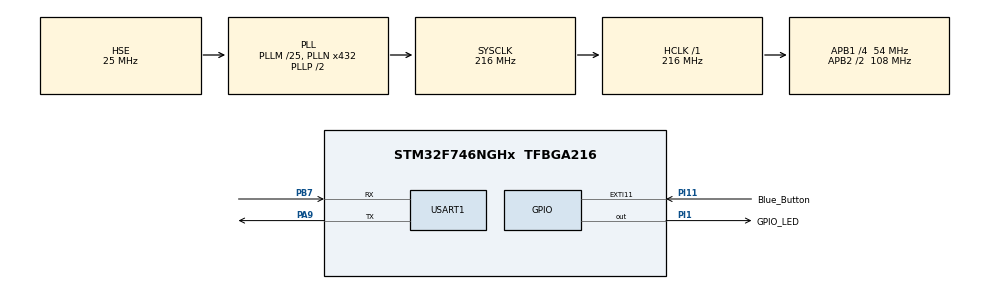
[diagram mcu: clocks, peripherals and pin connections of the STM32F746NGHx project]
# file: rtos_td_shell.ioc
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FREERTOS.Tasks01=defaultTask,0,128,StartDefaultTask,Default,NULL,Dynamic,NULL,NULL
FREERTOS.configCHECK_FOR_STACK_OVERFLOW=2
FREERTOS.configGENERATE_RUN_TIME_STATS=1
FREERTOS.configRECORD_STACK_HIGH_ADDRESS=1
FREERTOS.configUSE_STATS_FORMATTING_FUNCTIONS=1
FREERTOS.configUSE_TIMERS=0
FREERTOS.configUSE_TRACE_FACILITY=1
Mcu.Family=STM32F7
Mcu.Name=STM32F746NGHx
Mcu.Package=TFBGA216
NVIC.PriorityGroup=NVIC_PRIORITYGROUP_4
NVIC.TIM1_UP_TIM10_IRQn=true\:5\:0\:false\:false\:true\:true\:true\:true\:true
NVIC.TIM6_DAC_IRQn=true\:15\:0\:false\:false\:true\:false\:false\:true\:true
NVIC.TimeBase=TIM6_DAC_IRQn
NVIC.TimeBaseIP=TIM6
NVIC.USART1_IRQn=true\:5\:0\:false\:false\:true\:true\:true\:true\:true
PA13.Mode=Serial_Wire
PA13.Signal=SYS_JTMS-SWDIO
PA14.Mode=Serial_Wire
PA14.Signal=SYS_JTCK-SWCLK
PA9.Mode=Asynchronous
PA9.Signal=USART1_TX
PB7.Mode=Asynchronous
PB7.Signal=USART1_RX
PH0/OSC_IN.Mode=HSE-External-Oscillator
PH0/OSC_IN.Signal=RCC_OSC_IN
PH1/OSC_OUT.Mode=HSE-External-Oscillator
PH1/OSC_OUT.Signal=RCC_OSC_OUT
PI1.GPIO_Label=GPIO_LED
PI1.Signal=GPIO_Output
PI11.GPIO_Label=Blue_Button
PI11.Signal=GPXTI11
ProjectManager.HeapSize=0x200
ProjectManager.StackSize=0x400
ProjectManager.TargetToolchain=STM32CubeIDE
RCC.AHBFreq_Value=216000000
RCC.APB1CLKDivider=RCC_HCLK_DIV4
RCC.APB1Freq_Value=54000000
RCC.APB1TimFreq_Value=108000000
RCC.APB2CLKDivider=RCC_HCLK_DIV2
RCC.APB2Freq_Value=108000000
RCC.APB2TimFreq_Value=216000000
RCC.CortexFreq_Value=216000000
RCC.HCLKFreq_Value=216000000
RCC.HSE_VALUE=25000000
RCC.HSI_VALUE=16000000
RCC.LSE_VALUE=32768
RCC.PLLM=25
RCC.PLLN=432
RCC.PLLSourceVirtual=RCC_PLLSOURCE_HSE
RCC.SYSCLKFreq_VALUE=216000000
RCC.SYSCLKSource=RCC_SYSCLKSOURCE_PLLCLK
RCC.USBFreq_Value=216000000
RCC.VCOOutputFreq_Value=432000000
TIM10.Period=400
USART1.VirtualMode-Asynchronous=VM_ASYNC
VP_FREERTOS_VS_CMSIS_V1.Mode=CMSIS_V1
VP_SYS_VS_tim6.Mode=TIM6
VP_TIM10_VS_ClockSourceINT.Mode=Enable_Timer
board=STM32F746G-DISCO

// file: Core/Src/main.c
/* USER CODE BEGIN Header */
/**
 ******************************************************************************
 * @file           : main.c
 * @brief          : Main program body
 ******************************************************************************
 * @attention
 *
 * Copyright (c) 2022 STMicroelectronics.
 * All rights reserved.
 *
 * This software is licensed under terms that can be found in the LICENSE file
 * in the root directory of this software component.
 * If no LICENSE file comes with this software, it is provided AS-IS.
 *
 ******************************************************************************
 */
/* USER CODE END Header */
#include "main.h"
#include "cmsis_os.h"
#include "tim.h"
#include "usart.h"
#include "gpio.h"

/* USER CODE BEGIN Includes */
#include <stdio.h>
#include "shell.h"
/* USER CODE END Includes */

/* USER CODE BEGIN PD */
#define TASK_SHELL_STACK_LENGTH 256
#define TASK_SHELL_PRIORITY 2
#define TASK_LED_PRIORITY 1

#define TASK_BIDON1_PRIORITY 2
#define TASK_BIDON2_PRIORITY 1

#define STACK_SIZE 1000
#define LED_DELAY 500

#define DELAY_1 500
#define DELAY_2 1500

#define LONG_MAX 500
/* USER CODE END PD */

/* USER CODE BEGIN PV */
TaskHandle_t h_task_shell;
TaskHandle_t xHandleToggleLED;
TaskHandle_t xHandleBidon;

SemaphoreHandle_t sem1 = NULL;

TaskHandle_t xHandleTaskGiveNotif = NULL;
TaskHandle_t xHandleTaskTakeNotif = NULL;

TaskHandle_t xHandleTaskGiveQueue = NULL;
TaskHandle_t xHandleTaskTakeQueue = NULL;

QueueHandle_t maQueue = NULL;

int requestLED = 0;
int freqLED = 0;
int argLED;

/* USER CODE END PV */

void SystemClock_Config(void);
void MX_FREERTOS_Init(void);
/* USER CODE BEGIN PFP */
void codeLED_Toggle (void * pvParameters);

void bidon1(void * pvParameters);
void bidon2(void * pvParameters);

void codeTaskGiveNotif (void * pvParameters);
void codeTaskTakeNotif (void * pvParameters);

void codeTaskGiveQueue (void * pvParameters);
void codeTaskTakeQueue (void * pvParameters);
/* USER CODE END PFP */

/* USER CODE BEGIN 0 */
int __io_putchar(int ch)
{
	HAL_UART_Transmit(&huart1, (uint8_t*)&ch, 1, HAL_MAX_DELAY);

	return ch;
}

void HAL_UART_RxCpltCallback(UART_HandleTypeDef *huart)
{
	BaseType_t hptw = pdFALSE;
	// Give la notification, pour réveiller la tâche du shell
	// Seulement si c'est une interruption de l'USART1
	if (USART1 == huart->Instance)
	{
		vTaskNotifyGiveFromISR(h_task_shell, &hptw);
	}

	portYIELD_FROM_ISR(hptw)
}

int fonction(int argc, char ** argv)
{
	printf("argc =%d\r\n",argc);

	for (int i=0;i<argc;i++)
	{
		printf("L'argument numero %d = %s \r\n",i,argv[i]);
	}

	return 0;
}

int led(int argc, char ** argv)
{

	if (argc !=2)
	{
		printf("ERREUR : Pas le bon nombre d'arguments\r\n");
	}
	else{
		argLED = atoi(argv[1]);
		if (argLED == 0)
		{
			//requestLED = 0;
			vTaskSuspend(xHandleToggleLED);
			if(HAL_GPIO_ReadPin(GPIO_LED_GPIO_Port, GPIO_LED_Pin)== SET)
			{
				HAL_GPIO_WritePin(GPIO_LED_GPIO_Port, GPIO_LED_Pin, RESET);
			}
			printf("LED eteinte\r\n");

		}
		else
		{
			vTaskResume(xHandleToggleLED);
			freqLED = atoi(argv[1]);
			requestLED = 1;
			printf("LED allumee\r\n");
			printf("Frequence : %dHz\r\n", 1000/freqLED);

		}
	}

	return 0;
}

void task_shell(void * unused)
{
	shell_init();
	shell_add('f', fonction, "Une fonction inutile");
	shell_add('l', led, "J'adore clignoter");
	shell_run();

	// Il ne faut jamais retourner d'une tâche
	// Mais on n'arrive jamais là parce que shell_run est une boucle infinie
}

volatile unsigned count;

void configureTimerForRunTimeStats(void)
{
    count = 0;
    HAL_TIM_Base_Start_IT(&htim10);
}

unsigned long getRunTimeCounterValue(void)
{
	return count;
}

/* USER CODE END 0 */

int main(void)
{

  /* MCU Configuration--------------------------------------------------------*/

  /* Reset of all peripherals, Initializes the Flash interface and the Systick. */
  HAL_Init();

  /* Configure the system clock */
  SystemClock_Config();

  /* Initialize all configured peripherals */
  MX_GPIO_Init();
  MX_USART1_UART_Init();
  MX_TIM10_Init();
  /* USER CODE BEGIN 2 */

	BaseType_t TaskGiveNotif;
	BaseType_t TaskTakeNotif;

	BaseType_t TaskGiveQueue;
	BaseType_t TaskTakeQueue;

	sem1 = xSemaphoreCreateBinary();
	configASSERT(sem1 != NULL);

	if (xTaskCreate(task_shell, "Shell", TASK_SHELL_STACK_LENGTH, NULL, TASK_SHELL_PRIORITY, &h_task_shell) != pdPASS)
	{
		printf("Error task shell\r\n");
		Error_Handler();
	}

	/*if (xTaskCreate(codeLED_Toggle, "LED Toggle", STACK_SIZE, (void *) LED_DELAY, TASK_LED_PRIORITY, &xHandleToggleLED ) != pdPASS)
	{
		printf("Error task ledToggle\r\n");
		Error_Handler();
	}*/

	if (xTaskCreate(bidon1, "bidon1", STACK_SIZE, (void *) DELAY_1, TASK_BIDON1_PRIORITY, &xHandleBidon ) != pdPASS)
	{
		printf("Error task bidon\r\n");
		Error_Handler();
	}

	if (xTaskCreate(bidon2, "bidon2", STACK_SIZE, (void *) DELAY_1, TASK_BIDON2_PRIORITY, &xHandleBidon ) != pdPASS)
	{
		printf("Error task bidon\r\n");
		Error_Handler();
	}

	vQueueAddToRegistry(sem1, "Semaphore");

	//TaskGiveNotif = xTaskCreate(codeTaskGiveNotif, "Task Give", STACK_SIZE, (void *) DELAY_1, tskIDLE_PRIORITY+2, &xHandleTaskGiveNotif );
	//TaskTakeNotif = xTaskCreate(codeTaskTakeNotif, "Task Take", STACK_SIZE, (void *) DELAY_2, tskIDLE_PRIORITY+1, &xHandleTaskTakeNotif );
	//configASSERT(TaskTakeNotif == pdPASS);

	//TaskGiveQueue = xTaskCreate(codeTaskGiveQueue, "Task Give", STACK_SIZE, (void *) DELAY_1, tskIDLE_PRIORITY+2, &xHandleTaskGiveQueue );
	//TaskTakeQueue = xTaskCreate(codeTaskTakeQueue, "Task Take", STACK_SIZE, (void *) DELAY_2, tskIDLE_PRIORITY+1, &xHandleTaskTakeQueue);
	//configASSERT(TaskTakeQueue == pdPASS);

	vTaskStartScheduler();

  /* USER CODE END 2 */

  /* Call init function for freertos objects (in freertos.c) */
  MX_FREERTOS_Init();

  /* Start scheduler */
  osKernelStart();

  /* We should never get here as control is now taken by the scheduler */
  /* Infinite loop */
	while (1)
	{

	}
}

void SystemClock_Config(void)
{
  RCC_OscInitTypeDef RCC_OscInitStruct = {0};
  RCC_ClkInitTypeDef RCC_ClkInitStruct = {0};

  /** Configure the main internal regulator output voltage
  */
  __HAL_RCC_PWR_CLK_ENABLE();
  __HAL_PWR_VOLTAGESCALING_CONFIG(PWR_REGULATOR_VOLTAGE_SCALE1);

  /** Initializes the RCC Oscillators according to the specified parameters
  * in the RCC_OscInitTypeDef structure.
  */
  RCC_OscInitStruct.OscillatorType = RCC_OSCILLATORTYPE_HSE;
  RCC_OscInitStruct.HSEState = RCC_HSE_ON;
  RCC_OscInitStruct.PLL.PLLState = RCC_PLL_ON;
  RCC_OscInitStruct.PLL.PLLSource = RCC_PLLSOURCE_HSE;
  RCC_OscInitStruct.PLL.PLLM = 25;
  RCC_OscInitStruct.PLL.PLLN = 432;
  RCC_OscInitStruct.PLL.PLLP = RCC_PLLP_DIV2;
  RCC_OscInitStruct.PLL.PLLQ = 2;
  if (HAL_RCC_OscConfig(&RCC_OscInitStruct) != HAL_OK)
  {
    Error_Handler();
  }

  /** Activate the Over-Drive mode
  */
  if (HAL_PWREx_EnableOverDrive() != HAL_OK)
  {
    Error_Handler();
  }

  /** Initializes the CPU, AHB and APB buses clocks
  */
  RCC_ClkInitStruct.ClockType = RCC_CLOCKTYPE_HCLK|RCC_CLOCKTYPE_SYSCLK
                              |RCC_CLOCKTYPE_PCLK1|RCC_CLOCKTYPE_PCLK2;
  RCC_ClkInitStruct.SYSCLKSource = RCC_SYSCLKSOURCE_PLLCLK;
  RCC_ClkInitStruct.AHBCLKDivider = RCC_SYSCLK_DIV1;
  RCC_ClkInitStruct.APB1CLKDivider = RCC_HCLK_DIV4;
  RCC_ClkInitStruct.APB2CLKDivider = RCC_HCLK_DIV2;

  if (HAL_RCC_ClockConfig(&RCC_ClkInitStruct, FLASH_LATENCY_7) != HAL_OK)
  {
    Error_Handler();
  }
}

/* USER CODE BEGIN 4 */
void codeLED_Toggle(void* pvParameters)
{
	for(;;)
	{
		while (requestLED == 1)
		{
			HAL_GPIO_WritePin(GPIO_LED_GPIO_Port, GPIO_LED_Pin, SET);
			vTaskDelay(freqLED);
			HAL_GPIO_WritePin(GPIO_LED_GPIO_Port, GPIO_LED_Pin, RESET);
			vTaskDelay(freqLED);
		}
	}

}

void bidon1(void* pvParameters)
{
	while(1){
		xSemaphoreGive(sem1);
		vTaskDelay(1000);
		printf("le sem ne fonctionne pas\r\n");
	}
}

void bidon2(void* pvParameters)
{
	while(1){
		xSemaphoreTake(sem1, DELAY_1);
	}
}

void codeTaskGiveNotif(void* pvParameters)
{
	int delay = (int) pvParameters;
	for(;;)
	{
		printf("I give\r\n");
		xTaskNotifyGive(xHandleTaskTakeNotif);
		printf("Notification given\r\n");
		vTaskDelay(delay);
	}
}

void codeTaskTakeNotif(void* pvParameters)
{
	int errorDelay = (int) pvParameters;
	for(;;)
	{
		printf("I take\r\n");
		if(ulTaskNotifyTake(pdTRUE, errorDelay) == pdTRUE)
		{
			printf("Notification taken\r\n");
		}
		else
		{
			printf("Error\r\n");
			NVIC_SystemReset();
		}
	}
}

void codeTaskGiveQueue(void* pvParameters)
{
	int c=0;
	static char msg[] = "msg 00";
	int delay = (int) pvParameters;
	for(;;)
	{
		delay+=100;
		sprintf(msg, "msg %02d \r\n", c);
		xQueueSend(maQueue, (const void*) msg, portMAX_DELAY);
		c++;
		printf("Message given\r\n");
		vTaskDelay(delay);
	}
}

void codeTaskTakeQueue(void* pvParameters)
{
	char msgBuf[LONG_MAX];
	int errorDelay = (int) pvParameters;
	for(;;)
	{
		printf("I take\r\n");
		if(xQueueReceive(maQueue, (void*) msgBuf, errorDelay) == pdTRUE)
		{
			printf(msgBuf);
			printf("Message taken\r\n");

		}
		else
		{
			printf("ERROR : max delay reached\r\n");
			NVIC_SystemReset();
		}
	}
}

void HAL_GPIO_EXTI_Callback(uint16_t GPIO_Pin)
{

	if(GPIO_Pin == Blue_Button_Pin)
	{

		if(HAL_GPIO_ReadPin(GPIO_LED_GPIO_Port, GPIO_LED_Pin)==SET)
		{
			HAL_GPIO_WritePin(GPIO_LED_GPIO_Port, GPIO_LED_Pin, RESET);
		}
		else
		{
			HAL_GPIO_WritePin(GPIO_LED_GPIO_Port, GPIO_LED_Pin, SET);
		}
	}

}

/* USER CODE END 4 */

void HAL_TIM_PeriodElapsedCallback(TIM_HandleTypeDef *htim)
{
  if (htim->Instance == TIM6) {
    HAL_IncTick();
  }
}

void Error_Handler(void)
{
	__disable_irq();
	while (1)
	{
	}
}

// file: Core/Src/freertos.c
/* USER CODE BEGIN Header */
/**
  ******************************************************************************
  * File Name          : freertos.c
  * Description        : Code for freertos applications
  ******************************************************************************
  * @attention
  *
  * Copyright (c) 2022 STMicroelectronics.
  * All rights reserved.
  *
  * This software is licensed under terms that can be found in the LICENSE file
  * in the root directory of this software component.
  * If no LICENSE file comes with this software, it is provided AS-IS.
  *
  ******************************************************************************
  */
/* USER CODE END Header */

#include "FreeRTOS.h"
#include "task.h"
#include "main.h"
#include "cmsis_os.h"

osThreadId defaultTaskHandle;

void StartDefaultTask(void const * argument);

void MX_FREERTOS_Init(void); /* (MISRA C 2004 rule 8.1) */

/* GetIdleTaskMemory prototype (linked to static allocation support) */
void vApplicationGetIdleTaskMemory( StaticTask_t **ppxIdleTaskTCBBuffer, StackType_t **ppxIdleTaskStackBuffer, uint32_t *pulIdleTaskStackSize );

/* Hook prototypes */
void configureTimerForRunTimeStats(void);
unsigned long getRunTimeCounterValue(void);
void vApplicationStackOverflowHook(xTaskHandle xTask, signed char *pcTaskName);

/* USER CODE BEGIN 1 */
/* Functions needed when configGENERATE_RUN_TIME_STATS is on */
__weak void configureTimerForRunTimeStats(void)
{

}

__weak unsigned long getRunTimeCounterValue(void)
{
return 0;
}
/* USER CODE END 1 */

/* USER CODE BEGIN 4 */
__weak void vApplicationStackOverflowHook(xTaskHandle xTask, signed char *pcTaskName)
{
   /* Run time stack overflow checking is performed if
   configCHECK_FOR_STACK_OVERFLOW is defined to 1 or 2. This hook function is
   called if a stack overflow is detected. */
}
/* USER CODE END 4 */

/* USER CODE BEGIN GET_IDLE_TASK_MEMORY */
static StaticTask_t xIdleTaskTCBBuffer;
static StackType_t xIdleStack[configMINIMAL_STACK_SIZE];

void vApplicationGetIdleTaskMemory( StaticTask_t **ppxIdleTaskTCBBuffer, StackType_t **ppxIdleTaskStackBuffer, uint32_t *pulIdleTaskStackSize )
{
  *ppxIdleTaskTCBBuffer = &xIdleTaskTCBBuffer;
  *ppxIdleTaskStackBuffer = &xIdleStack[0];
  *pulIdleTaskStackSize = configMINIMAL_STACK_SIZE;
  /* place for user code */
}
/* USER CODE END GET_IDLE_TASK_MEMORY */

void MX_FREERTOS_Init(void) {

  /* Create the thread(s) */
  /* definition and creation of defaultTask */
  osThreadDef(defaultTask, StartDefaultTask, osPriorityNormal, 0, 128);
  defaultTaskHandle = osThreadCreate(osThread(defaultTask), NULL);

}

void StartDefaultTask(void const * argument)
{
  for(;;)
  {
    osDelay(1);
  }
}
